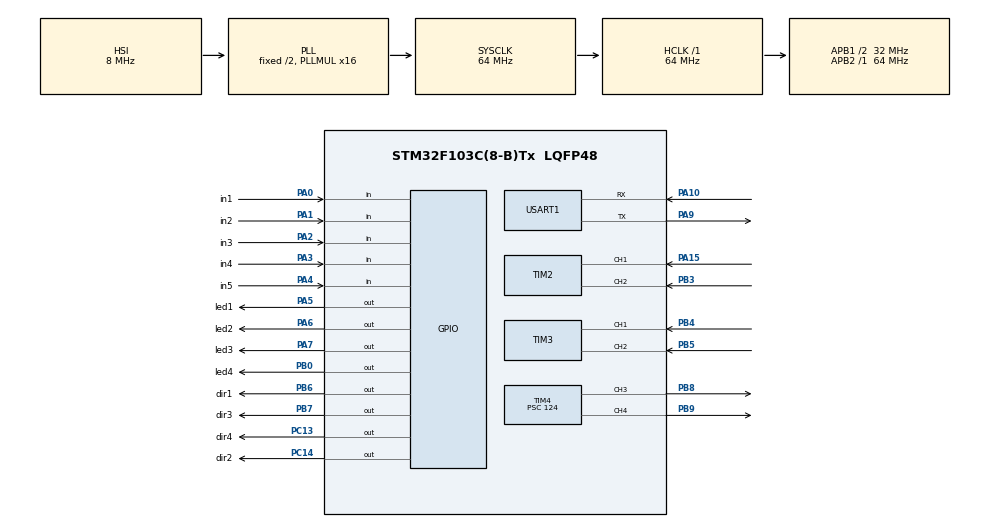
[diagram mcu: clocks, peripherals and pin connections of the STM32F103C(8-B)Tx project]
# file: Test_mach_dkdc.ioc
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Dma.Request0=USART1_RX
Dma.USART1_RX.0.Direction=DMA_PERIPH_TO_MEMORY
Dma.USART1_RX.0.Instance=DMA1_Channel5
Dma.USART1_RX.0.MemDataAlignment=DMA_MDATAALIGN_BYTE
Dma.USART1_RX.0.MemInc=DMA_MINC_ENABLE
Dma.USART1_RX.0.Mode=DMA_CIRCULAR
Dma.USART1_RX.0.PeriphDataAlignment=DMA_PDATAALIGN_BYTE
Dma.USART1_RX.0.PeriphInc=DMA_PINC_DISABLE
Dma.USART1_RX.0.Priority=DMA_PRIORITY_LOW
Mcu.Family=STM32F1
Mcu.Name=STM32F103C(8-B)Tx
Mcu.Package=LQFP48
NVIC.DMA1_Channel5_IRQn=true\:0\:0\:false\:false\:true\:false\:true\:true
NVIC.PriorityGroup=NVIC_PRIORITYGROUP_4
NVIC.TIM1_UP_IRQn=true\:4\:0\:true\:false\:true\:true\:true\:true
NVIC.TIM2_IRQn=true\:2\:0\:true\:false\:true\:true\:true\:true
NVIC.TIM3_IRQn=true\:3\:0\:true\:false\:true\:true\:true\:true
PA0-WKUP.GPIO_Label=in1
PA0-WKUP.GPIO_PuPd=GPIO_NOPULL
PA0-WKUP.Signal=GPIO_Input
PA1.GPIO_Label=in2
PA1.GPIO_PuPd=GPIO_NOPULL
PA1.Signal=GPIO_Input
PA10.Mode=Asynchronous
PA10.Signal=USART1_RX
PA13.Mode=Serial_Wire
PA13.Signal=SYS_JTMS-SWDIO
PA14.Mode=Serial_Wire
PA14.Signal=SYS_JTCK-SWCLK
PA15.Signal=S_TIM2_CH1_ETR
PA2.GPIO_Label=in3
PA2.GPIO_PuPd=GPIO_NOPULL
PA2.Signal=GPIO_Input
PA3.GPIO_Label=in4
PA3.GPIO_PuPd=GPIO_NOPULL
PA3.Signal=GPIO_Input
PA4.GPIO_Label=in5
PA4.GPIO_PuPd=GPIO_NOPULL
PA4.Signal=GPIO_Input
PA5.GPIO_Label=led1
PA5.Signal=GPIO_Output
PA6.GPIO_Label=led2
PA6.Signal=GPIO_Output
PA7.GPIO_Label=led3
PA7.Signal=GPIO_Output
PA9.Mode=Asynchronous
PA9.Signal=USART1_TX
PB0.GPIO_Label=led4
PB0.Signal=GPIO_Output
PB3.Signal=S_TIM2_CH2
PB4.Signal=S_TIM3_CH1
PB5.Signal=S_TIM3_CH2
PB6.GPIO_Label=dir1
PB6.Signal=GPIO_Output
PB7.GPIO_Label=dir3
PB7.Signal=GPIO_Output
PB8.Signal=S_TIM4_CH3
PB9.Signal=S_TIM4_CH4
PC13-TAMPER-RTC.GPIO_Label=dir4
PC13-TAMPER-RTC.Signal=GPIO_Output
PC14-OSC32_IN.GPIO_Label=dir2
PC14-OSC32_IN.Signal=GPIO_Output
ProjectManager.HeapSize=0x200
ProjectManager.StackSize=0x400
ProjectManager.TargetToolchain=MDK-ARM V5.32
RCC.ADCPresc=RCC_ADCPCLK2_DIV8
RCC.AHBFreq_Value=64000000
RCC.APB1CLKDivider=RCC_HCLK_DIV2
RCC.APB1Freq_Value=32000000
RCC.APB1TimFreq_Value=64000000
RCC.APB2Freq_Value=64000000
RCC.APB2TimFreq_Value=64000000
RCC.HCLKFreq_Value=64000000
RCC.PLLMUL=RCC_PLL_MUL16
RCC.SYSCLKFreq_VALUE=64000000
RCC.SYSCLKSource=RCC_SYSCLKSOURCE_PLLCLK
RCC.USBFreq_Value=64000000
SH.S_TIM2_CH1_ETR.0=TIM2_CH1,Encoder_Interface
SH.S_TIM2_CH2.0=TIM2_CH2,Encoder_Interface
SH.S_TIM3_CH1.0=TIM3_CH1,Encoder_Interface
SH.S_TIM3_CH2.0=TIM3_CH2,Encoder_Interface
SH.S_TIM4_CH3.0=TIM4_CH3,PWM Generation3 CH3
SH.S_TIM4_CH4.0=TIM4_CH4,PWM Generation4 CH4
TIM1.Period=255
TIM1.Prescaler=2499
TIM2.EncoderMode=TIM_ENCODERMODE_TI12
TIM2.IC1Polarity=TIM_ICPOLARITY_FALLING
TIM2.IC2Polarity=TIM_ICPOLARITY_FALLING
TIM3.EncoderMode=TIM_ENCODERMODE_TI12
TIM4.Channel-PWM\ Generation3\ CH3=TIM_CHANNEL_3
TIM4.Channel-PWM\ Generation4\ CH4=TIM_CHANNEL_4
TIM4.Period=255
TIM4.Prescaler=124
USART1.VirtualMode=VM_ASYNC
VP_TIM1_VS_ClockSourceINT.Mode=Internal
VP_TIM4_VS_ClockSourceINT.Mode=Internal
board=custom

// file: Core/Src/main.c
/* USER CODE BEGIN Header */
/**
  ******************************************************************************
  * @file           : main.c
  * @brief          : Main program body
  ******************************************************************************
  * @attention
  *
  * Copyright (c) 2026 STMicroelectronics.
  * All rights reserved.
  *
  * This software is licensed under terms that can be found in the LICENSE file
  * in the root directory of this software component.
  * If no LICENSE file comes with this software, it is provided AS-IS.
  *
  ******************************************************************************
  */
/* USER CODE END Header */
#include "main.h"

/* USER CODE BEGIN Includes */
#include "stdbool.h"
#include "pid.h"
#include "math.h"

PIDController pid_speed1;
PIDController pid_speed2;

uint32_t en1_count = 0;
uint32_t num_byte1 = 0;
uint8_t data_rx_1;
uint8_t rx_buff[9];
bool rx_flag1 = false;
volatile int speed1=0,speed2=0,dir1=0,dir2=0;
float dt = 0.01f;
int debug_dat = 0;
uint8_t tx_buff[5];

#define encoder_ppr 333
#define sample_time 10.0f
#define abs(x) (x>0) ? x : -x

volatile int32_t pre_c1= 0;
volatile float m1_speed = 0.0f;
volatile int32_t encoder1_c = 0;

volatile int32_t pre_c2= 0;
volatile float m2_speed = 0.0f;
volatile int32_t encoder2_c = 0;

#define speed_size 5
float speed_buffer1[speed_size];
uint8_t speed_index1 = 0;

float speed_buffer2[speed_size];
uint8_t speed_index2 = 0;
volatile int err_line = 0;
uint8_t check = 0;
uint8_t out_speed1;
int8_t active_sensors = 0;
uint8_t sensor[5] = {0,0,0,0,0};

//int pid_speed2(uint16_t speed_target ,float speed_motor);
uint8_t line_value = 0;

bool pid1_FLAG = false, pid2_FLAG = false;

/* USER CODE END Includes */

TIM_HandleTypeDef htim1;
TIM_HandleTypeDef htim2;
TIM_HandleTypeDef htim3;
TIM_HandleTypeDef htim4;

UART_HandleTypeDef huart1;
DMA_HandleTypeDef hdma_usart1_rx;

void SystemClock_Config(void);
static void MX_GPIO_Init(void);
static void MX_DMA_Init(void);
static void MX_USART1_UART_Init(void);
static void MX_TIM4_Init(void);
static void MX_TIM3_Init(void);
static void MX_TIM2_Init(void);
static void MX_TIM1_Init(void);

/* USER CODE BEGIN 0 */

void HAL_TIM_IC_CaptureCallback(TIM_HandleTypeDef *htim){
//	if(htim -> Instance == htim2.Instance ){
//		en1_count = __HAL_TIM_GET_COUNTER(htim);
//	}
//
//
}

void HAL_UART_RxCpltCallback(UART_HandleTypeDef *huart){
//	if(huart -> Instance == huart1.Instance){
//		if(data_rx_1 == 0x03){
//			rx_flag1 = true;
//		}
//		if(rx_flag1){
//			rx_buff[num_byte1] = data_rx_1;
//			num_byte1++;
//			if(num_byte1 > 8){
//				num_byte1 = 0;
//				rx_flag1 = false;
//			}
//		}
//	}
//	HAL_UART_Receive_IT(&huart1,&data_rx_1,1);
}
void Calculate_Motor_Speed_1(void){
    int32_t current_count = (int32_t)__HAL_TIM_GET_COUNTER(&htim2);

    int32_t delta = current_count - pre_c1;

    if (delta > 32768)       delta -= 65536;
    else if (delta < -32768) delta += 65536;

    pre_c1 = current_count;

    encoder1_c += delta;

    float counts_per_sec = (float)delta * (1000.0f / sample_time);
    float rev_per_sec    = counts_per_sec / (encoder_ppr * 4.0f);
    float rpm            = rev_per_sec * 60.0f;

    speed_buffer1[speed_index1] = rpm;
    speed_index1 = (speed_index1 + 1) % speed_size;

    float sum = 0.0f;
    for (uint8_t i = 0; i < speed_size; i++)
        sum += speed_buffer1[i];

    m1_speed = sum / speed_size;
}

void Calculate_Motor_Speed_2(void){
    int32_t current_count = (int32_t)__HAL_TIM_GET_COUNTER(&htim3);

    int32_t delta = current_count - pre_c2;

    if (delta > 32768)       delta -= 65536;
    else if (delta < -32768) delta += 65536;

    pre_c2 = current_count;

    encoder2_c += delta;

    float counts_per_sec = (float)delta * (1000.0f / sample_time);
    float rev_per_sec    = counts_per_sec / (encoder_ppr * 4.0f);
    float rpm            = rev_per_sec * 60.0f;

    speed_buffer2[speed_index2] = rpm;
    speed_index2 = (speed_index2 + 1) % speed_size;

    float sum = 0.0f;
    for (uint8_t i = 0; i < speed_size; i++)
        sum += speed_buffer2[i];

    m2_speed = sum / speed_size;
}
void HAL_TIM_PeriodElapsedCallback(TIM_HandleTypeDef *htim){
    if(htim == &htim1){
      Calculate_Motor_Speed_1();
			Calculate_Motor_Speed_2();
			pid1_FLAG = true;
			pid2_FLAG = true;
    }
}
float constrain(float value, float min_val, float max_val) {
    if (value < min_val) return min_val;
    if (value > max_val) return max_val;
    return value;
}

void led(uint16_t time){
	static uint32_t time_sw = 0;
	static uint8_t num_led = 0;

	if(HAL_GetTick()-time_sw >= time){
		num_led += 1;
		if(num_led > 4) num_led = 0;
		time_sw = HAL_GetTick();
	}

	switch (num_led){
		case 0:
			HAL_GPIO_WritePin(led1_GPIO_Port,led1_Pin,GPIO_PIN_RESET);
			HAL_GPIO_WritePin(led2_GPIO_Port,led2_Pin,GPIO_PIN_RESET);
			HAL_GPIO_WritePin(led3_GPIO_Port,led3_Pin,GPIO_PIN_RESET);
			HAL_GPIO_WritePin(led4_GPIO_Port,led4_Pin,GPIO_PIN_RESET);
		  break;
		case 1:
			HAL_GPIO_WritePin(led1_GPIO_Port,led1_Pin,GPIO_PIN_SET);
		  break;
		case 2:
			HAL_GPIO_WritePin(led1_GPIO_Port,led1_Pin,GPIO_PIN_RESET);
		  HAL_GPIO_WritePin(led2_GPIO_Port,led2_Pin,GPIO_PIN_SET);
		  break;
		case 3:
			HAL_GPIO_WritePin(led2_GPIO_Port,led2_Pin,GPIO_PIN_RESET);
		  HAL_GPIO_WritePin(led3_GPIO_Port,led3_Pin,GPIO_PIN_SET);
		  break;
    case 4:
			HAL_GPIO_WritePin(led3_GPIO_Port,led3_Pin,GPIO_PIN_RESET);
		  HAL_GPIO_WritePin(led4_GPIO_Port,led4_Pin,GPIO_PIN_SET);
		  break;
	}

}

/*tinh gia tri cam bien*/

/*gui gia tri cam bien*/
void send_line_value(){
	static uint32_t time = 0;
	if(HAL_GetTick()-time > 10){
		//line_value = line_cal();
		if(err_line>=0){
			tx_buff[1] = 0xFF;
		}else{
			tx_buff[1] = 0x00;
		}
		tx_buff[0] = 0x04;
		tx_buff[2] = (err_line>0?err_line:-err_line);
		tx_buff[3] = active_sensors;
		tx_buff[4] = 0xA3;
		HAL_UART_Transmit(&huart1,tx_buff,5,100);
		time = HAL_GetTick();
	}
}

void PID_Setup(void)
{
    pid_speed1.Kp = 3.5f;  // 1.95
    pid_speed1.Ki = 15.0f;  //  0.8
    pid_speed1.Kd = 0.2f; // 0.35

    pid_speed1.tau = 0.02f;

    pid_speed1.limMin = -255.0f;
    pid_speed1.limMax = 255.0f;

    pid_speed1.limMinInt = -255.0f;
    pid_speed1.limMaxInt = 255.0f;

    pid_speed1.T = 0.01f;

    PIDController_Init(&pid_speed1);
	  pid_speed2.Kp = 3.5f;  // 1.95
    pid_speed2.Ki = 15.0f;  //  0.7
    pid_speed2.Kd = 0.2f; // 0.35

    pid_speed2.tau = 0.02f;

    pid_speed2.limMin = -255.0f;
    pid_speed2.limMax = 255.0f;

    pid_speed2.limMinInt = -255.0f;
    pid_speed2.limMaxInt = 255.0f;

    pid_speed2.T = 0.01f;

    PIDController_Init(&pid_speed2);
}

uint32_t lastTick = 0;
float Ts = 10; // ms

void loop_PID_1(int speed){
    if(pid1_FLAG){
			if(dir1==0){
				speed = speed;
			}else{
				speed = -speed;
			}

			int output = PIDController_Update(&pid_speed1,speed, m1_speed);

			if (output > 0) {
					output = output * (255 - 80) / 255 + 80;
			}else if (output < 0) {
					output = output * (255 - 80) / 255 - 80;
			}

			//int pwm = abs(output);

			if(output < 80 || speed == 0) __HAL_TIM_SET_COMPARE(&htim4,TIM_CHANNEL_3,0);

			debug_dat = output;

			if(dir1==0){
				HAL_GPIO_WritePin(dir1_GPIO_Port,dir1_Pin,GPIO_PIN_RESET);
				HAL_GPIO_WritePin(dir2_GPIO_Port,dir2_Pin,GPIO_PIN_SET);
			}else{
				HAL_GPIO_WritePin(dir1_GPIO_Port,dir1_Pin,GPIO_PIN_SET);
				HAL_GPIO_WritePin(dir2_GPIO_Port,dir2_Pin,GPIO_PIN_RESET);
			}
			if(speed!=0){
				int pwm = (dir1==0)?(255+output):(255-output);
				__HAL_TIM_SET_COMPARE(&htim4,TIM_CHANNEL_3,constrain(pwm,0,255));
			}
			pid1_FLAG = false;
    }
}

void loop_PID_2(int speed){
    if(pid2_FLAG){

			if(dir2==0){
				speed = speed;
			}else{
				speed = -speed;
			}

      float output = PIDController_Update(&pid_speed2, speed, m2_speed);
			if (output > 0) {
					output = output * (255 - 80) / 255 + 80;
			} else if (output < 0) {
					output = output * (255 - 80) / 255 - 80;
			}

			if(output < 80 || speed == 0 ) __HAL_TIM_SET_COMPARE(&htim4,TIM_CHANNEL_4,0);

			if(dir2==0){
				HAL_GPIO_WritePin(dir3_GPIO_Port,dir3_Pin,GPIO_PIN_RESET);
				HAL_GPIO_WritePin(dir4_GPIO_Port,dir4_Pin,GPIO_PIN_SET);
			}else{
				HAL_GPIO_WritePin(dir3_GPIO_Port,dir3_Pin,GPIO_PIN_SET);
				HAL_GPIO_WritePin(dir4_GPIO_Port,dir4_Pin,GPIO_PIN_RESET);
			}
			if(speed!=0){
				int pwm = (dir2==0)?(255+output):(255-output);
				__HAL_TIM_SET_COMPARE(&htim4,TIM_CHANNEL_4,constrain(pwm,0,255));
			}
			pid2_FLAG = false;
    }
}
void cal_err_line() {
    sensor[0] = !HAL_GPIO_ReadPin(in1_GPIO_Port, in1_Pin);
    sensor[1] = !HAL_GPIO_ReadPin(in2_GPIO_Port, in2_Pin);
    sensor[2] = !HAL_GPIO_ReadPin(in3_GPIO_Port, in3_Pin);
    sensor[3] = !HAL_GPIO_ReadPin(in4_GPIO_Port, in4_Pin);
    sensor[4] = !HAL_GPIO_ReadPin(in5_GPIO_Port, in5_Pin);

    int32_t sum = 0;
	  active_sensors = 0;

    if (sensor[0]) { sum += -20; active_sensors++; }
    if (sensor[1]) { sum += -10; active_sensors++; }
    if (sensor[2]) { sum += 0;   active_sensors++; }
    if (sensor[3]) { sum += 10;  active_sensors++; }
    if (sensor[4]) { sum += 20;  active_sensors++; }

    if (active_sensors > 0) {
        err_line = (float)sum / active_sensors;
    }else{

    }
}

void pid_line_speed(int base_speed_t){
	static double Kp,Ki,Kd;
	static int32_t error,last_err = 0,output;
	Kp = 1.5; Ki = 0.25; Kd = 0.15;// 5.25 0.3 1.5
	cal_err_line();
	error = 0 - err_line;
	output = Kp*(error) + Ki*(err_line+last_err) + Kd*(err_line-last_err);
	last_err = error;
	output = constrain(output,-10,10);

	loop_PID_1(base_speed_t+output);
	loop_PID_2(base_speed_t-output);
	//check = output;
}
void data_process(){
	if(rx_buff[0] == 0x03 && rx_buff[7] == 0x3A && rx_buff[8] == 0xFF){
		dir1 = rx_buff[1];
		dir2 = rx_buff[2];
		speed1 = (rx_buff[3] << 8) | rx_buff[4] ;
		speed2 = (rx_buff[5] << 8) | rx_buff[6] ;
	}
}
/* USER CODE END 0 */

int main(void)
{

  /* MCU Configuration--------------------------------------------------------*/

  /* Reset of all peripherals, Initializes the Flash interface and the Systick. */
  HAL_Init();

  /* Configure the system clock */
  SystemClock_Config();

  /* Initialize all configured peripherals */
  MX_GPIO_Init();
  MX_DMA_Init();
  MX_USART1_UART_Init();
  MX_TIM4_Init();
  MX_TIM3_Init();
  MX_TIM2_Init();
  MX_TIM1_Init();
  /* USER CODE BEGIN 2 */
	HAL_TIM_PWM_Start(&htim4,TIM_CHANNEL_3);
	HAL_TIM_PWM_Start(&htim4,TIM_CHANNEL_4);
	HAL_TIM_Encoder_Start(&htim3,TIM_CHANNEL_ALL);
	HAL_TIM_Encoder_Start_IT(&htim2,TIM_CHANNEL_ALL);
	HAL_UART_Receive_DMA(&huart1,rx_buff,9);
	HAL_TIM_Base_Start_IT(&htim1);
	PID_Setup();

  /* USER CODE END 2 */

  /* Infinite loop */
  while (1)
  {

    /* USER CODE BEGIN 3 */
		data_process();
		led(speed1);
		cal_err_line();
//		dir1 = 0;
//		dir2 = 0;
//		speed1 = 20;
//		speed2 = 20;
//
		loop_PID_1(speed1);
		loop_PID_2(speed2);
		send_line_value();
  }
  /* USER CODE END 3 */
}

void SystemClock_Config(void)
{
  RCC_OscInitTypeDef RCC_OscInitStruct = {0};
  RCC_ClkInitTypeDef RCC_ClkInitStruct = {0};

  /** Initializes the RCC Oscillators according to the specified parameters
  * in the RCC_OscInitTypeDef structure.
  */
  RCC_OscInitStruct.OscillatorType = RCC_OSCILLATORTYPE_HSI;
  RCC_OscInitStruct.HSIState = RCC_HSI_ON;
  RCC_OscInitStruct.HSICalibrationValue = RCC_HSICALIBRATION_DEFAULT;
  RCC_OscInitStruct.PLL.PLLState = RCC_PLL_ON;
  RCC_OscInitStruct.PLL.PLLSource = RCC_PLLSOURCE_HSI_DIV2;
  RCC_OscInitStruct.PLL.PLLMUL = RCC_PLL_MUL16;
  if (HAL_RCC_OscConfig(&RCC_OscInitStruct) != HAL_OK)
  {
    Error_Handler();
  }

  /** Initializes the CPU, AHB and APB buses clocks
  */
  RCC_ClkInitStruct.ClockType = RCC_CLOCKTYPE_HCLK|RCC_CLOCKTYPE_SYSCLK
                              |RCC_CLOCKTYPE_PCLK1|RCC_CLOCKTYPE_PCLK2;
  RCC_ClkInitStruct.SYSCLKSource = RCC_SYSCLKSOURCE_PLLCLK;
  RCC_ClkInitStruct.AHBCLKDivider = RCC_SYSCLK_DIV1;
  RCC_ClkInitStruct.APB1CLKDivider = RCC_HCLK_DIV2;
  RCC_ClkInitStruct.APB2CLKDivider = RCC_HCLK_DIV1;

  if (HAL_RCC_ClockConfig(&RCC_ClkInitStruct, FLASH_LATENCY_2) != HAL_OK)
  {
    Error_Handler();
  }
}

static void MX_TIM1_Init(void)
{

  TIM_ClockConfigTypeDef sClockSourceConfig = {0};
  TIM_MasterConfigTypeDef sMasterConfig = {0};

  htim1.Instance = TIM1;
  htim1.Init.Prescaler = 2499;
  htim1.Init.CounterMode = TIM_COUNTERMODE_UP;
  htim1.Init.Period = 255;
  htim1.Init.ClockDivision = TIM_CLOCKDIVISION_DIV1;
  htim1.Init.RepetitionCounter = 0;
  htim1.Init.AutoReloadPreload = TIM_AUTORELOAD_PRELOAD_DISABLE;
  if (HAL_TIM_Base_Init(&htim1) != HAL_OK)
  {
    Error_Handler();
  }
  sClockSourceConfig.ClockSource = TIM_CLOCKSOURCE_INTERNAL;
  if (HAL_TIM_ConfigClockSource(&htim1, &sClockSourceConfig) != HAL_OK)
  {
    Error_Handler();
  }
  sMasterConfig.MasterOutputTrigger = TIM_TRGO_RESET;
  sMasterConfig.MasterSlaveMode = TIM_MASTERSLAVEMODE_DISABLE;
  if (HAL_TIMEx_MasterConfigSynchronization(&htim1, &sMasterConfig) != HAL_OK)
  {
    Error_Handler();
  }

}

static void MX_TIM2_Init(void)
{

  TIM_Encoder_InitTypeDef sConfig = {0};
  TIM_MasterConfigTypeDef sMasterConfig = {0};

  htim2.Instance = TIM2;
  htim2.Init.Prescaler = 0;
  htim2.Init.CounterMode = TIM_COUNTERMODE_UP;
  htim2.Init.Period = 65535;
  htim2.Init.ClockDivision = TIM_CLOCKDIVISION_DIV1;
  htim2.Init.AutoReloadPreload = TIM_AUTORELOAD_PRELOAD_DISABLE;
  sConfig.EncoderMode = TIM_ENCODERMODE_TI12;
  sConfig.IC1Polarity = TIM_ICPOLARITY_FALLING;
  sConfig.IC1Selection = TIM_ICSELECTION_DIRECTTI;
  sConfig.IC1Prescaler = TIM_ICPSC_DIV1;
  sConfig.IC1Filter = 0;
  sConfig.IC2Polarity = TIM_ICPOLARITY_FALLING;
  sConfig.IC2Selection = TIM_ICSELECTION_DIRECTTI;
  sConfig.IC2Prescaler = TIM_ICPSC_DIV1;
  sConfig.IC2Filter = 0;
  if (HAL_TIM_Encoder_Init(&htim2, &sConfig) != HAL_OK)
  {
    Error_Handler();
  }
  sMasterConfig.MasterOutputTrigger = TIM_TRGO_RESET;
  sMasterConfig.MasterSlaveMode = TIM_MASTERSLAVEMODE_DISABLE;
  if (HAL_TIMEx_MasterConfigSynchronization(&htim2, &sMasterConfig) != HAL_OK)
  {
    Error_Handler();
  }

}

static void MX_TIM3_Init(void)
{

  TIM_Encoder_InitTypeDef sConfig = {0};
  TIM_MasterConfigTypeDef sMasterConfig = {0};

  htim3.Instance = TIM3;
  htim3.Init.Prescaler = 0;
  htim3.Init.CounterMode = TIM_COUNTERMODE_UP;
  htim3.Init.Period = 65535;
  htim3.Init.ClockDivision = TIM_CLOCKDIVISION_DIV1;
  htim3.Init.AutoReloadPreload = TIM_AUTORELOAD_PRELOAD_DISABLE;
  sConfig.EncoderMode = TIM_ENCODERMODE_TI12;
  sConfig.IC1Polarity = TIM_ICPOLARITY_RISING;
  sConfig.IC1Selection = TIM_ICSELECTION_DIRECTTI;
  sConfig.IC1Prescaler = TIM_ICPSC_DIV1;
  sConfig.IC1Filter = 0;
  sConfig.IC2Polarity = TIM_ICPOLARITY_RISING;
  sConfig.IC2Selection = TIM_ICSELECTION_DIRECTTI;
  sConfig.IC2Prescaler = TIM_ICPSC_DIV1;
  sConfig.IC2Filter = 0;
  if (HAL_TIM_Encoder_Init(&htim3, &sConfig) != HAL_OK)
  {
    Error_Handler();
  }
  sMasterConfig.MasterOutputTrigger = TIM_TRGO_RESET;
  sMasterConfig.MasterSlaveMode = TIM_MASTERSLAVEMODE_DISABLE;
  if (HAL_TIMEx_MasterConfigSynchronization(&htim3, &sMasterConfig) != HAL_OK)
  {
    Error_Handler();
  }

}

static void MX_TIM4_Init(void)
{

  TIM_ClockConfigTypeDef sClockSourceConfig = {0};
  TIM_MasterConfigTypeDef sMasterConfig = {0};
  TIM_OC_InitTypeDef sConfigOC = {0};

  htim4.Instance = TIM4;
  htim4.Init.Prescaler = 124;
  htim4.Init.CounterMode = TIM_COUNTERMODE_UP;
  htim4.Init.Period = 255;
  htim4.Init.ClockDivision = TIM_CLOCKDIVISION_DIV1;
  htim4.Init.AutoReloadPreload = TIM_AUTORELOAD_PRELOAD_DISABLE;
  if (HAL_TIM_Base_Init(&htim4) != HAL_OK)
  {
    Error_Handler();
  }
  sClockSourceConfig.ClockSource = TIM_CLOCKSOURCE_INTERNAL;
  if (HAL_TIM_ConfigClockSource(&htim4, &sClockSourceConfig) != HAL_OK)
  {
    Error_Handler();
  }
  if (HAL_TIM_PWM_Init(&htim4) != HAL_OK)
  {
    Error_Handler();
  }
  sMasterConfig.MasterOutputTrigger = TIM_TRGO_RESET;
  sMasterConfig.MasterSlaveMode = TIM_MASTERSLAVEMODE_DISABLE;
  if (HAL_TIMEx_MasterConfigSynchronization(&htim4, &sMasterConfig) != HAL_OK)
  {
    Error_Handler();
  }
  sConfigOC.OCMode = TIM_OCMODE_PWM1;
  sConfigOC.Pulse = 0;
  sConfigOC.OCPolarity = TIM_OCPOLARITY_HIGH;
  sConfigOC.OCFastMode = TIM_OCFAST_DISABLE;
  if (HAL_TIM_PWM_ConfigChannel(&htim4, &sConfigOC, TIM_CHANNEL_3) != HAL_OK)
  {
    Error_Handler();
  }
  if (HAL_TIM_PWM_ConfigChannel(&htim4, &sConfigOC, TIM_CHANNEL_4) != HAL_OK)
  {
    Error_Handler();
  }
  HAL_TIM_MspPostInit(&htim4);

}

static void MX_USART1_UART_Init(void)
{

  huart1.Instance = USART1;
  huart1.Init.BaudRate = 115200;
  huart1.Init.WordLength = UART_WORDLENGTH_8B;
  huart1.Init.StopBits = UART_STOPBITS_1;
  huart1.Init.Parity = UART_PARITY_NONE;
  huart1.Init.Mode = UART_MODE_TX_RX;
  huart1.Init.HwFlowCtl = UART_HWCONTROL_NONE;
  huart1.Init.OverSampling = UART_OVERSAMPLING_16;
  if (HAL_UART_Init(&huart1) != HAL_OK)
  {
    Error_Handler();
  }

}

static void MX_DMA_Init(void)
{

  /* DMA controller clock enable */
  __HAL_RCC_DMA1_CLK_ENABLE();

  /* DMA interrupt init */
  /* DMA1_Channel5_IRQn interrupt configuration */
  HAL_NVIC_SetPriority(DMA1_Channel5_IRQn, 0, 0);
  HAL_NVIC_EnableIRQ(DMA1_Channel5_IRQn);

}

static void MX_GPIO_Init(void)
{
  GPIO_InitTypeDef GPIO_InitStruct = {0};

  /* GPIO Ports Clock Enable */
  __HAL_RCC_GPIOC_CLK_ENABLE();
  __HAL_RCC_GPIOA_CLK_ENABLE();
  __HAL_RCC_GPIOB_CLK_ENABLE();

  /*Configure GPIO pin Output Level */
  HAL_GPIO_WritePin(GPIOC, dir4_Pin|dir2_Pin, GPIO_PIN_RESET);

  /*Configure GPIO pin Output Level */
  HAL_GPIO_WritePin(GPIOA, led1_Pin|led2_Pin|led3_Pin, GPIO_PIN_RESET);

  /*Configure GPIO pin Output Level */
  HAL_GPIO_WritePin(GPIOB, led4_Pin|dir1_Pin|dir3_Pin, GPIO_PIN_RESET);

  /*Configure GPIO pins : dir4_Pin dir2_Pin */
  GPIO_InitStruct.Pin = dir4_Pin|dir2_Pin;
  GPIO_InitStruct.Mode = GPIO_MODE_OUTPUT_PP;
  GPIO_InitStruct.Pull = GPIO_NOPULL;
  GPIO_InitStruct.Speed = GPIO_SPEED_FREQ_LOW;
  HAL_GPIO_Init(GPIOC, &GPIO_InitStruct);

  /*Configure GPIO pins : in1_Pin in2_Pin in3_Pin in4_Pin
                           in5_Pin */
  GPIO_InitStruct.Pin = in1_Pin|in2_Pin|in3_Pin|in4_Pin
                          |in5_Pin;
  GPIO_InitStruct.Mode = GPIO_MODE_INPUT;
  GPIO_InitStruct.Pull = GPIO_NOPULL;
  HAL_GPIO_Init(GPIOA, &GPIO_InitStruct);

  /*Configure GPIO pins : led1_Pin led2_Pin led3_Pin */
  GPIO_InitStruct.Pin = led1_Pin|led2_Pin|led3_Pin;
  GPIO_InitStruct.Mode = GPIO_MODE_OUTPUT_PP;
  GPIO_InitStruct.Pull = GPIO_NOPULL;
  GPIO_InitStruct.Speed = GPIO_SPEED_FREQ_LOW;
  HAL_GPIO_Init(GPIOA, &GPIO_InitStruct);

  /*Configure GPIO pins : led4_Pin dir1_Pin dir3_Pin */
  GPIO_InitStruct.Pin = led4_Pin|dir1_Pin|dir3_Pin;
  GPIO_InitStruct.Mode = GPIO_MODE_OUTPUT_PP;
  GPIO_InitStruct.Pull = GPIO_NOPULL;
  GPIO_InitStruct.Speed = GPIO_SPEED_FREQ_LOW;
  HAL_GPIO_Init(GPIOB, &GPIO_InitStruct);

}

void Error_Handler(void)
{
  __disable_irq();
  while (1)
  {
  }
}
